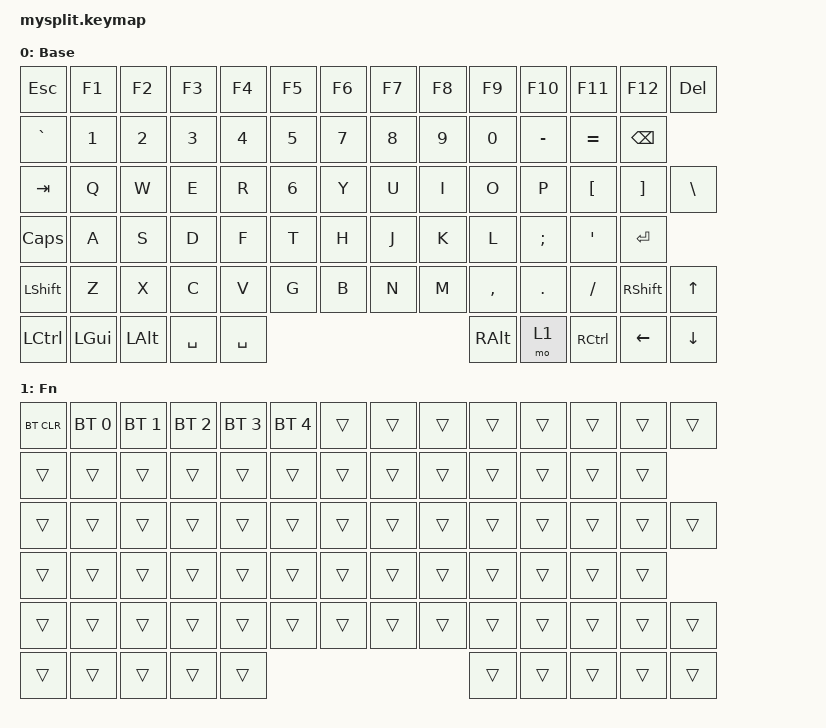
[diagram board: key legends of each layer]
// ============================================================
// mysplit.keymap  - keymap.h를 ZMK 문법으로 옮긴 것
// 순서는 mysplit.dtsi의 matrix transform과 정확히 같아야 함
// (왼쪽 → 오른쪽, 위 → 아래)
// ============================================================
#include <behaviors.dtsi>
#include <dt-bindings/zmk/keys.h>
#include <dt-bindings/zmk/bt.h>

/ {
    keymap {
        compatible = "zmk,keymap";

        base_layer {
            display-name = "Base";
            bindings = <
&kp ESC   &kp F1   &kp F2   &kp F3   &kp F4   &kp F5        &kp F6  &kp F7  &kp F8  &kp F9    &kp F10   &kp F11   &kp F12   &kp DEL
&kp GRAVE &kp N1   &kp N2   &kp N3   &kp N4   &kp N5        &kp N7  &kp N8  &kp N9  &kp N0    &kp MINUS &kp EQUAL &kp BSPC
&kp TAB   &kp Q    &kp W    &kp E    &kp R    &kp N6        &kp Y   &kp U   &kp I   &kp O     &kp P     &kp LBKT  &kp RBKT  &kp BSLH
&kp CAPS  &kp A    &kp S    &kp D    &kp F    &kp T         &kp H   &kp J   &kp K   &kp L     &kp SEMI  &kp SQT   &kp RET
&kp LSHFT &kp Z    &kp X    &kp C    &kp V    &kp G         &kp B   &kp N   &kp M   &kp COMMA &kp DOT   &kp FSLH  &kp RSHFT &kp UP
&kp LCTRL &kp LGUI &kp LALT &kp SPACE                                       &kp SPACE &kp RALT  &mo 1     &kp RCTRL &kp LEFT  &kp DOWN
            >;
        };

        // Fn 레이어: 원래 비어 있었는데, ZMK에선 블루투스 제어 키가 꼭 필요해서 추가함
        //   Fn + F1~F5 : 연결 기기 1~5번 선택
        //   Fn + ESC   : 현재 선택된 기기 페어링 지우기
        fn_layer {
            display-name = "Fn";
            bindings = <
&bt BT_CLR &bt BT_SEL 0 &bt BT_SEL 1 &bt BT_SEL 2 &bt BT_SEL 3 &bt BT_SEL 4   &trans &trans &trans &trans &trans &trans &trans &trans
&trans     &trans       &trans       &trans       &trans       &trans         &trans &trans &trans &trans &trans &trans &trans
&trans     &trans       &trans       &trans       &trans       &trans         &trans &trans &trans &trans &trans &trans &trans &trans
&trans     &trans       &trans       &trans       &trans       &trans         &trans &trans &trans &trans &trans &trans &trans
&trans     &trans       &trans       &trans       &trans       &trans         &trans &trans &trans &trans &trans &trans &trans &trans
&trans     &trans       &trans       &trans                                                 &trans &trans &trans &trans &trans &trans
            >;
        };
    };
};
